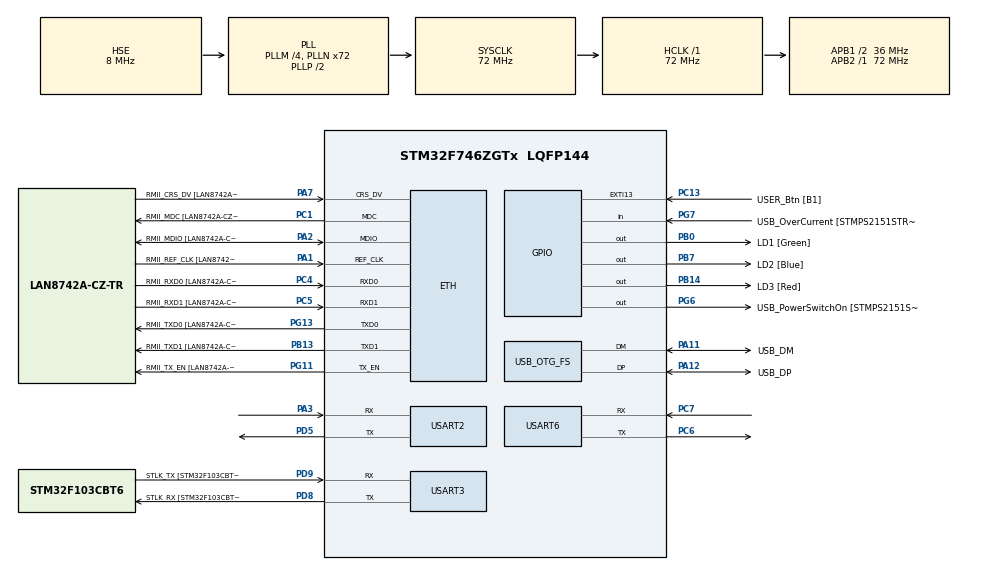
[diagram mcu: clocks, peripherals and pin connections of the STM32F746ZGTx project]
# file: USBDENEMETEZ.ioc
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ETH.MediaInterface=HAL_ETH_RMII_MODE
ETH.PHY_Name=LAN8742A_PHY_ADDRESS
ETH.PHY_Value=0
ETH.PhyAddress=0
Mcu.Family=STM32F7
Mcu.Name=STM32F746ZGTx
Mcu.Package=LQFP144
NVIC.OTG_FS_IRQn=true\:0\:0\:false\:false\:true\:false\:true\:true
NVIC.PriorityGroup=NVIC_PRIORITYGROUP_4
NVIC.TIM3_IRQn=true\:3\:0\:true\:false\:true\:true\:true\:true
NVIC.USART2_IRQn=true\:0\:0\:false\:false\:true\:true\:true\:true
NVIC.USART6_IRQn=true\:0\:0\:false\:false\:true\:true\:true\:true
PA1.GPIO_Label=RMII_REF_CLK [LAN8742A-CZ-TR_REFCLK0]
PA1.Mode=RMII
PA1.Signal=ETH_REF_CLK
PA10.GPIO_Label=USB_ID
PA10.Signal=USB_OTG_FS_ID
PA11.GPIO_Label=USB_DM
PA11.Mode=Device_Only
PA11.Signal=USB_OTG_FS_DM
PA12.GPIO_Label=USB_DP
PA12.Mode=Device_Only
PA12.Signal=USB_OTG_FS_DP
PA13.GPIO_Label=TMS
PA13.Mode=Serial_Wire
PA13.Signal=SYS_JTMS-SWDIO
PA14.GPIO_Label=TCK
PA14.Mode=Serial_Wire
PA14.Signal=SYS_JTCK-SWCLK
PA2.GPIO_Label=RMII_MDIO [LAN8742A-CZ-TR_MDIO]
PA2.Mode=RMII
PA2.Signal=ETH_MDIO
PA3.Mode=Asynchronous
PA3.Signal=USART2_RX
PA7.GPIO_Label=RMII_CRS_DV [LAN8742A-CZ-TR_CRS_DV]
PA7.Mode=RMII
PA7.Signal=ETH_CRS_DV
PA8.GPIO_Label=USB_SOF [TP1]
PA8.Signal=USB_OTG_FS_SOF
PA9.GPIO_Label=USB_VBUS
PA9.Signal=USB_OTG_FS_VBUS
PB0.GPIO_Label=LD1 [Green]
PB0.Signal=GPIO_Output
PB13.GPIO_Label=RMII_TXD1 [LAN8742A-CZ-TR_TXD1]
PB13.Mode=RMII
PB13.Signal=ETH_TXD1
PB14.GPIO_Label=LD3 [Red]
PB14.Signal=GPIO_Output
PB3.GPIO_Label=SW0
PB3.Signal=SYS_JTDO-SWO
PB7.GPIO_Label=LD2 [Blue]
PB7.Signal=GPIO_Output
PC1.GPIO_Label=RMII_MDC [LAN8742A-CZ-TR_MDC]
PC1.Mode=RMII
PC1.Signal=ETH_MDC
PC13.GPIO_Label=USER_Btn [B1]
PC13.Signal=GPXTI13
PC14/OSC32_IN.Mode=LSE-External-Oscillator
PC14/OSC32_IN.Signal=RCC_OSC32_IN
PC15/OSC32_OUT.Mode=LSE-External-Oscillator
PC15/OSC32_OUT.Signal=RCC_OSC32_OUT
PC4.GPIO_Label=RMII_RXD0 [LAN8742A-CZ-TR_RXD0]
PC4.Mode=RMII
PC4.Signal=ETH_RXD0
PC5.GPIO_Label=RMII_RXD1 [LAN8742A-CZ-TR_RXD1]
PC5.Mode=RMII
PC5.Signal=ETH_RXD1
PC6.Mode=Asynchronous
PC6.Signal=USART6_TX
PC7.Mode=Asynchronous
PC7.Signal=USART6_RX
PD5.Mode=Asynchronous
PD5.Signal=USART2_TX
PD8.GPIO_Label=STLK_RX [STM32F103CBT6_PA3]
PD8.GPIO_PuPd=GPIO_PULLUP
PD8.Mode=Asynchronous
PD8.Signal=USART3_TX
PD9.GPIO_Label=STLK_TX [STM32F103CBT6_PA2]
PD9.GPIO_PuPd=GPIO_PULLUP
PD9.Mode=Asynchronous
PD9.Signal=USART3_RX
PG11.GPIO_Label=RMII_TX_EN [LAN8742A-CZ-TR_TXEN]
PG11.Mode=RMII
PG11.Signal=ETH_TX_EN
PG13.GPIO_Label=RMII_TXD0 [LAN8742A-CZ-TR_TXD0]
PG13.Mode=RMII
PG13.Signal=ETH_TXD0
PG6.GPIO_Label=USB_PowerSwitchOn [STMPS2151STR_EN]
PG6.Signal=GPIO_Output
PG7.GPIO_Label=USB_OverCurrent [STMPS2151STR_FAULT]
PG7.Signal=GPIO_Input
PH0/OSC_IN.GPIO_Label=MCO [STM32F103CBT6_PA8]
PH0/OSC_IN.Mode=HSE-External-Clock-Source
PH0/OSC_IN.Signal=RCC_OSC_IN
PH1/OSC_OUT.Mode=HSE-External-Clock-Source
PH1/OSC_OUT.Signal=RCC_OSC_OUT
ProjectManager.HeapSize=0x200
ProjectManager.StackSize=0x400
ProjectManager.TargetToolchain=STM32CubeIDE
RCC.48MHZClocksFreq_Value=24000000
RCC.AHBFreq_Value=72000000
RCC.APB1CLKDivider=RCC_HCLK_DIV2
RCC.APB1Freq_Value=36000000
RCC.APB1TimFreq_Value=72000000
RCC.APB2Freq_Value=72000000
RCC.APB2TimFreq_Value=72000000
RCC.CortexFreq_Value=72000000
RCC.HCLKFreq_Value=72000000
RCC.HSE_VALUE=8000000
RCC.HSI_VALUE=16000000
RCC.PLLM=4
RCC.PLLMUL=RCC_PLL_MUL9
RCC.PLLN=72
RCC.PLLQ=3
RCC.PRESCALERUSB=RCC_USBCLKSOURCE_PLL_DIV1_5
RCC.SYSCLKFreq_VALUE=72000000
RCC.SYSCLKSource=RCC_SYSCLKSOURCE_PLLCLK
RCC.SYSCLKSourceVirtual=RCC_SYSCLKSOURCE_PLLCLK
RCC.USBFreq_Value=48000000
RCC.VCOOutputFreq_Value=144000000
TIM3.Period=1000-1
TIM3.Prescaler=72-1
USART2.VirtualMode-Asynchronous=VM_ASYNC
USART3.VirtualMode-Asynchronous=VM_ASYNC
USART6.VirtualMode-Asynchronous=VM_ASYNC
USB_DEVICE.CLASS_NAME_FS=CDC
USB_DEVICE.VirtualMode-CDC_FS=Cdc
USB_DEVICE.VirtualModeFS=Cdc_FS
USB_OTG_FS.VirtualMode=Device_Only
VP_TIM3_VS_ClockSourceINT.Mode=Internal
VP_USB_DEVICE_VS_USB_DEVICE_CDC_FS.Mode=CDC_FS
board=NUCLEO-F746ZG

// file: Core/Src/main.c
/* USER CODE BEGIN Header */
/**
  ******************************************************************************
  * @file           : main.c
  * @brief          : Main program body
  ******************************************************************************
  * @attention
  *
  * Copyright (c) 2024 STMicroelectronics.
  * All rights reserved.
  *
  * This software is licensed under terms that can be found in the LICENSE file
  * in the root directory of this software component.
  * If no LICENSE file comes with this software, it is provided AS-IS.
  *
  ******************************************************************************
  */
/* USER CODE END Header */
#include "main.h"
#include "string.h"
#include "usb_device.h"

/* USER CODE BEGIN Includes */
#include "usbd_cdc_if.h"
#include <stdio.h>
#include <stdlib.h>
/* USER CODE END Includes */

/* USER CODE BEGIN PM */
#define TIM_USB_SIMULINK htim3

//ODRIVE
#define uart_odrive1 huart2
#define uart_odrive2 huart6
#define timer_Trajectory htim1
#define AXIS_STATE_UNDEFINED (uint8_t)(0 + 48)
#define AXIS_STATE_IDLE (uint8_t)(1 + 48)
#define AXIS_STATE_FULL_CALIBRATION_SEQUENCE (uint8_t)(3 + 48)
#define AXIS_STATE_ENCODER_OFFSET_CALIBRATION (uint8_t)(7 + 48)
#define AXIS_STATE_CLOSED_LOOP_CONTROL (uint8_t)(8 + 48)

#define MOTOR_0 0
#define MOTOR_1 1
#define MOTOR_2 0
#define MOTOR_3 1//

/* USER CODE END PM */

#if defined ( __ICCARM__ ) /*!< IAR Compiler */
#pragma location=0x2004c000
ETH_DMADescTypeDef  DMARxDscrTab[ETH_RX_DESC_CNT]; /* Ethernet Rx DMA Descriptors */
#pragma location=0x2004c0a0
ETH_DMADescTypeDef  DMATxDscrTab[ETH_TX_DESC_CNT]; /* Ethernet Tx DMA Descriptors */

#elif defined ( __CC_ARM )  /* MDK ARM Compiler */

__attribute__((at(0x2004c000))) ETH_DMADescTypeDef  DMARxDscrTab[ETH_RX_DESC_CNT]; /* Ethernet Rx DMA Descriptors */
__attribute__((at(0x2004c0a0))) ETH_DMADescTypeDef  DMATxDscrTab[ETH_TX_DESC_CNT]; /* Ethernet Tx DMA Descriptors */

#elif defined ( __GNUC__ ) /* GNU Compiler */
ETH_DMADescTypeDef DMARxDscrTab[ETH_RX_DESC_CNT] __attribute__((section(".RxDecripSection"))); /* Ethernet Rx DMA Descriptors */
ETH_DMADescTypeDef DMATxDscrTab[ETH_TX_DESC_CNT] __attribute__((section(".TxDecripSection")));   /* Ethernet Tx DMA Descriptors */

#endif

ETH_TxPacketConfig TxConfig;

ETH_HandleTypeDef heth;

TIM_HandleTypeDef htim3;

UART_HandleTypeDef huart2;
UART_HandleTypeDef huart3;
UART_HandleTypeDef huart6;

/* USER CODE BEGIN PV */
extern uint8_t USB_RX_Buf[18];
uint8_t USB_TX_BUF[34];

typedef union{
	float number;
	uint8_t bytes[4];
}NUMUNION_t;

NUMUNION_t positionFloatNum0;
NUMUNION_t positionFloatNum1;
NUMUNION_t positionFloatNum2;
NUMUNION_t positionFloatNum3;

NUMUNION_t velocityFloatNum0;
NUMUNION_t velocityFloatNum1;
NUMUNION_t velocityFloatNum2;
NUMUNION_t velocityFloatNum3;

extern NUMUNION_t desiredPositionFloatNum0;
extern NUMUNION_t desiredPositionFloatNum1;
extern NUMUNION_t desiredPositionFloatNum2;
extern NUMUNION_t desiredPositionFloatNum3;

uint8_t TX_BUF_ODRV[50];
uint8_t RX_BUF_ODRV[50];
uint8_t motor_count = 0;

uint8_t motor_count1 = 0;
uint8_t motor_count2 = 0;

uint8_t TX_BUF1[50];
uint8_t TX_BUF2[50];
uint8_t RX_BUF1[50];
uint8_t RX_BUF2[50];

uint8_t g_dataReceivedFlag = 0;

uint8_t TX_BUF[30];
uint8_t buflen=0;
/* USER CODE END PV */

void SystemClock_Config(void);
static void MX_GPIO_Init(void);
static void MX_ETH_Init(void);
static void MX_USART3_UART_Init(void);
static void MX_USART2_UART_Init(void);
static void MX_USART6_UART_Init(void);
static void MX_TIM3_Init(void);
/* USER CODE BEGIN PFP */
void setPosition(uint8_t motor, float position, float velocity_ff, float torque_ff, UART_HandleTypeDef* huart);
void setVelocity(uint8_t motor, float velocity, float torque_ff, UART_HandleTypeDef* huart);
void setTorque(uint8_t motor, float torque, UART_HandleTypeDef* huart);
void setTrajectory(uint8_t motor, float position, UART_HandleTypeDef* huart);

void setState(uint8_t motor, uint8_t state, UART_HandleTypeDef* huart);
void setParameter(uint8_t motor, char* property, char* value, UART_HandleTypeDef* huart);
void clearErrors(UART_HandleTypeDef* huart);

uint8_t getState(uint8_t motor, UART_HandleTypeDef* huart);
void getParameter(uint8_t motor, char* property, uint8_t* value, UART_HandleTypeDef* huart);
void getFeedback(uint8_t motor, float* position, float* velocity, UART_HandleTypeDef* huart);
/* USER CODE END PFP */

/* USER CODE BEGIN 0 */
void setTrajectory(uint8_t motor, float position, UART_HandleTypeDef* huart)
{

	uint8_t TX_BUF[50];

	if(motor == 0 || motor == 1)
	{
		sprintf((char*)TX_BUF, "t %u %.3f\n", motor, position);
		strcpy((char*)TX_BUF_ODRV,(char*)TX_BUF);
//		HAL_UART_Transmit(huart, TX_BUF, 10, 1000);
		HAL_UART_Transmit_IT(huart, TX_BUF, strlen((char*)TX_BUF));
	}

}
void setPosition(uint8_t motor, float position, float velocity_ff, float torque_ff, UART_HandleTypeDef* huart)
{

	uint8_t TX_BUF[50];

	if(motor == 0 || motor == 1)
	{
		sprintf((char*)TX_BUF, "p %u %.3f %.3f %.3f\r\n", motor, position, velocity_ff, torque_ff);//f %u\n , motor
//		strcpy((char*)TX_BUF_ODRV,(char*)TX_BUF);
		HAL_UART_Transmit(huart, TX_BUF, 24, 1000);
//		HAL_UART_Transmit_IT(huart, TX_BUF, 16);
	}

}
void getFeedback(uint8_t motor, float* position, float* velocity, UART_HandleTypeDef* huart)
{
//	uint8_t TX_BUF[50];
	uint8_t RX_BUF[50];
	if(motor == 0 || motor == 1)
	{
//		sprintf((char*)TX_BUF, "f %u\n", motor);
//		strcpy((char*)TX_BUF_ODRV,(char*)TX_BUF);
//		HAL_UART_Transmit(huart, TX_BUF, strlen((char*)TX_BUF), 100);
		HAL_UART_Receive(huart, RX_BUF,24,1000);
//		strcpy((char*)RX_BUF_ODRV,(char*)RX_BUF);
		sscanf((char*)RX_BUF,"%f %f\r\n", position, velocity);
//		memset (RX_BUF_ODRV, '\0', 20);  // clear the buffer
//		memset (RX_BUF, '\0', 20);  // clear the buffer
//		HAL_UART_Transmit_IT(huart, TX_BUF, strlen((char*)TX_BUF));
	}
}

void setVelocity(uint8_t motor, float velocity, float torque_ff, UART_HandleTypeDef* huart)
{
	uint8_t TX_BUF[50];

		if(motor == 0 || motor == 1)
		{
			sprintf((char*)TX_BUF, "v %u %.3f %.3f\nf %u\n", motor, velocity, torque_ff, motor);
			strcpy((char*)TX_BUF_ODRV,(char*)TX_BUF);
	//		HAL_UART_Transmit(huart, TX_BUF, 18, 1000);
			HAL_UART_Transmit_IT(huart, TX_BUF, strlen((char*)TX_BUF));
		}
}

void setTorque(uint8_t motor, float torque, UART_HandleTypeDef* huart)
{
	uint8_t TX_BUF[50];

		if(motor == 0 || motor == 1)
		{
			sprintf((char*)TX_BUF, "c %u %.3f\nf %u\n", motor, torque, motor);
			strcpy((char*)TX_BUF_ODRV,(char*)TX_BUF);
	//		HAL_UART_Transmit(huart, TX_BUF, 18, 1000);
			HAL_UART_Transmit_IT(huart, TX_BUF, strlen((char*)TX_BUF));
		}
}

void setState(uint8_t motor, uint8_t state, UART_HandleTypeDef* huart)
{

	uint8_t TX_BUF[30] = "w axis0.requested_state 1\n";

	TX_BUF[24] = state;

	if(motor == 0 || motor == 1)
	{
		TX_BUF[6] = motor + 48;
		strcpy((char*)TX_BUF_ODRV,(char*)TX_BUF);
		HAL_UART_Transmit(huart, TX_BUF, 26, 1000);
//		HAL_UART_Transmit_IT(huart, TX_BUF, 26);
	}

}

uint8_t getState(uint8_t motor, UART_HandleTypeDef* huart)
{
	uint8_t TX_BUF[30] = "r axis0.current_state\n";
//	uint8_t AxisState[24] = "axis0.current_state\n";
	uint8_t stateValue;
//	strcat((char*)TX_BUF,(char*)AxisState);

//	if(motor == 0 || motor == 1)
//	{
		TX_BUF[6] = motor + 48;
		strcpy((char*)TX_BUF_ODRV,(char*)TX_BUF);
		HAL_UART_Transmit(&uart_odrive1, TX_BUF, 22, 1000);
//		HAL_UART_Transmit_IT(huart, TX_BUF, 22);
//		HAL_Delay(100);
		HAL_UART_Receive(&uart_odrive1, RX_BUF_ODRV, sizeof(RX_BUF_ODRV), 1000);
//		HAL_UART_Receive_IT(huart, RX_BUF_ODRV, sizeof(RX_BUF_ODRV));
//		RX_BUF_ODRV[0] = stateValue;
		stateValue = RX_BUF_ODRV[0];
		return stateValue;
//	}

//	return AXIS_STATE_IDLE;//if an error occurs change state to idle

}

void setParameter(uint8_t motor, char* property, char* value, UART_HandleTypeDef* huart)
{
	uint8_t TX_BUF[50] = "w ";

	strcat(strcat(strcat(strcat((char*)TX_BUF, property)," "), value),"\n");

	if(motor == 0 || motor == 1)
	{
		strcpy((char*)TX_BUF_ODRV,(char*)TX_BUF);
//		TX_BUF_ODRV[6] = motor + 48;
		HAL_UART_Transmit(huart, TX_BUF, sizeof(TX_BUF), 1000);
//		HAL_UART_Transmit_IT(huart, TX_BUF, sizeof(TX_BUF));
	}
}

void getParameter(uint8_t motor, char* property, uint8_t* value, UART_HandleTypeDef* huart)
{
	uint8_t TX_BUF[50] = "r ";

	strcat(strcat((char*)TX_BUF, property),"\n");

	if(motor == 0 || motor == 1)
	{
		strcpy((char*)TX_BUF_ODRV,(char*)TX_BUF);
//		TX_BUF_ODRV[6] = motor + 48;
		HAL_UART_Transmit(huart, TX_BUF, 28, 1000);
//		HAL_UART_Transmit_IT(huart, TX_BUF, 28);
	}
	HAL_Delay(10);
	HAL_UART_Receive(huart, value, sizeof(value), 1000);
//	HAL_UART_Receive_IT(huart, value, sizeof(value));
}

void clearErrors(UART_HandleTypeDef* huart)
{
	uint8_t TX_BUF[50] = "sc\n";
	strcpy((char*)TX_BUF_ODRV,(char*)TX_BUF);
	HAL_UART_Transmit(huart, TX_BUF, 3, 1000);
//	HAL_UART_Transmit_IT(huart, TX_BUF, 3);
}
/* USER CODE END 0 */

int main(void)
{

  /* MCU Configuration--------------------------------------------------------*/

  /* Reset of all peripherals, Initializes the Flash interface and the Systick. */
  HAL_Init();

  /* Configure the system clock */
  SystemClock_Config();

  /* Initialize all configured peripherals */
  MX_GPIO_Init();
  MX_ETH_Init();
  MX_USART3_UART_Init();
  MX_USB_DEVICE_Init();
  MX_USART2_UART_Init();
  MX_USART6_UART_Init();
  MX_TIM3_Init();
  /* USER CODE BEGIN 2 */
HAL_TIM_Base_Start_IT(&TIM_USB_SIMULINK);

//HAL_UART_Receive_IT(&huart2, (uint8_t*)RX_BUF1, 24);/////////////////////////
//HAL_UART_Receive_IT(&huart6, (uint8_t*)RX_BUF2, 24);
//
HAL_UART_Transmit_IT(&huart2, (uint8_t*)TX_BUF1, 16);
HAL_UART_Transmit_IT(&huart6, (uint8_t*)TX_BUF2, 16);

//positionFloatNum0.number=3.14;
//positionFloatNum1.number=1.612;
//positionFloatNum2.number=2.2;
//positionFloatNum3.number=3.7;
//velocityFloatNum0.number=0.322;
//velocityFloatNum1.number=-0.456;
//velocityFloatNum2.number=1.032;
//velocityFloatNum3.number=0.992;
  /* USER CODE END 2 */

  /* Infinite loop */
  /* USER CODE BEGIN WHILE */
  while (1)
  {

//	  if(g_dataReceivedFlag == 1)
//	  {
//		  g_dataReceivedFlag = 0;
//
//	  }

//	  clearErrors(&uart_odrive1);
//	  HAL_Delay(10);
//	  clearErrors(&uart_odrive2);
////	  HAL_Delay(10);

	  uint8_t motor=1;
	  float position = desiredPositionFloatNum0.number;
	  sprintf((char*)TX_BUF, "p %u %.3f 0 0\r\n", motor, position);
	  if(position >=0 )
	  {
		  buflen=14;
		  //		  HAL_UART_Transmit(&uart_odrive2,TX_BUF ,14, 2000);
	  }
	  else
	  {
//		  HAL_UART_Transmit(&uart_odrive2,TX_BUF ,15, 2000);
		  buflen=15;
	  }

	  HAL_Delay(100);
//	  setPosition(MOTOR_0, desiredPositionFloatNum0.number, 0, 0, );
//	  setPosition(MOTOR_1, desiredPositionFloatNum1.number, 0, 0, &uart_odrive1);
//	  setPosition(MOTOR_2, desiredPositionFloatNum2.number, 0, 0, &uart_odrive2);
//	  setPosition(MOTOR_3, desiredPositionFloatNum3.number, 0, 0, &uart_odrive2);
    /* USER CODE END WHILE */

  }
}

void SystemClock_Config(void)
{
  RCC_OscInitTypeDef RCC_OscInitStruct = {0};
  RCC_ClkInitTypeDef RCC_ClkInitStruct = {0};

  /** Configure LSE Drive Capability
  */
  HAL_PWR_EnableBkUpAccess();

  /** Configure the main internal regulator output voltage
  */
  __HAL_RCC_PWR_CLK_ENABLE();
  __HAL_PWR_VOLTAGESCALING_CONFIG(PWR_REGULATOR_VOLTAGE_SCALE3);

  /** Initializes the RCC Oscillators according to the specified parameters
  * in the RCC_OscInitTypeDef structure.
  */
  RCC_OscInitStruct.OscillatorType = RCC_OSCILLATORTYPE_HSE;
  RCC_OscInitStruct.HSEState = RCC_HSE_BYPASS;
  RCC_OscInitStruct.PLL.PLLState = RCC_PLL_ON;
  RCC_OscInitStruct.PLL.PLLSource = RCC_PLLSOURCE_HSE;
  RCC_OscInitStruct.PLL.PLLM = 4;
  RCC_OscInitStruct.PLL.PLLN = 72;
  RCC_OscInitStruct.PLL.PLLP = RCC_PLLP_DIV2;
  RCC_OscInitStruct.PLL.PLLQ = 3;
  if (HAL_RCC_OscConfig(&RCC_OscInitStruct) != HAL_OK)
  {
    Error_Handler();
  }

  /** Initializes the CPU, AHB and APB buses clocks
  */
  RCC_ClkInitStruct.ClockType = RCC_CLOCKTYPE_HCLK|RCC_CLOCKTYPE_SYSCLK
                              |RCC_CLOCKTYPE_PCLK1|RCC_CLOCKTYPE_PCLK2;
  RCC_ClkInitStruct.SYSCLKSource = RCC_SYSCLKSOURCE_PLLCLK;
  RCC_ClkInitStruct.AHBCLKDivider = RCC_SYSCLK_DIV1;
  RCC_ClkInitStruct.APB1CLKDivider = RCC_HCLK_DIV2;
  RCC_ClkInitStruct.APB2CLKDivider = RCC_HCLK_DIV1;

  if (HAL_RCC_ClockConfig(&RCC_ClkInitStruct, FLASH_LATENCY_2) != HAL_OK)
  {
    Error_Handler();
  }
}

static void MX_ETH_Init(void)
{

   static uint8_t MACAddr[6];

  heth.Instance = ETH;
  MACAddr[0] = 0x00;
  MACAddr[1] = 0x80;
  MACAddr[2] = 0xE1;
  MACAddr[3] = 0x00;
  MACAddr[4] = 0x00;
  MACAddr[5] = 0x00;
  heth.Init.MACAddr = &MACAddr[0];
  heth.Init.MediaInterface = HAL_ETH_RMII_MODE;
  heth.Init.TxDesc = DMATxDscrTab;
  heth.Init.RxDesc = DMARxDscrTab;
  heth.Init.RxBuffLen = 1524;

  if (HAL_ETH_Init(&heth) != HAL_OK)
  {
    Error_Handler();
  }

  memset(&TxConfig, 0 , sizeof(ETH_TxPacketConfig));
  TxConfig.Attributes = ETH_TX_PACKETS_FEATURES_CSUM | ETH_TX_PACKETS_FEATURES_CRCPAD;
  TxConfig.ChecksumCtrl = ETH_CHECKSUM_IPHDR_PAYLOAD_INSERT_PHDR_CALC;
  TxConfig.CRCPadCtrl = ETH_CRC_PAD_INSERT;

}

static void MX_TIM3_Init(void)
{

  TIM_ClockConfigTypeDef sClockSourceConfig = {0};
  TIM_MasterConfigTypeDef sMasterConfig = {0};

  htim3.Instance = TIM3;
  htim3.Init.Prescaler = 72-1;
  htim3.Init.CounterMode = TIM_COUNTERMODE_UP;
  htim3.Init.Period = 1000-1;
  htim3.Init.ClockDivision = TIM_CLOCKDIVISION_DIV1;
  htim3.Init.AutoReloadPreload = TIM_AUTORELOAD_PRELOAD_DISABLE;
  if (HAL_TIM_Base_Init(&htim3) != HAL_OK)
  {
    Error_Handler();
  }
  sClockSourceConfig.ClockSource = TIM_CLOCKSOURCE_INTERNAL;
  if (HAL_TIM_ConfigClockSource(&htim3, &sClockSourceConfig) != HAL_OK)
  {
    Error_Handler();
  }
  sMasterConfig.MasterOutputTrigger = TIM_TRGO_RESET;
  sMasterConfig.MasterSlaveMode = TIM_MASTERSLAVEMODE_DISABLE;
  if (HAL_TIMEx_MasterConfigSynchronization(&htim3, &sMasterConfig) != HAL_OK)
  {
    Error_Handler();
  }

}

static void MX_USART2_UART_Init(void)
{

  huart2.Instance = USART2;
  huart2.Init.BaudRate = 115200;
  huart2.Init.WordLength = UART_WORDLENGTH_8B;
  huart2.Init.StopBits = UART_STOPBITS_1;
  huart2.Init.Parity = UART_PARITY_NONE;
  huart2.Init.Mode = UART_MODE_TX_RX;
  huart2.Init.HwFlowCtl = UART_HWCONTROL_NONE;
  huart2.Init.OverSampling = UART_OVERSAMPLING_16;
  huart2.Init.OneBitSampling = UART_ONE_BIT_SAMPLE_DISABLE;
  huart2.AdvancedInit.AdvFeatureInit = UART_ADVFEATURE_NO_INIT;
  if (HAL_UART_Init(&huart2) != HAL_OK)
  {
    Error_Handler();
  }

}

static void MX_USART3_UART_Init(void)
{

  huart3.Instance = USART3;
  huart3.Init.BaudRate = 115200;
  huart3.Init.WordLength = UART_WORDLENGTH_8B;
  huart3.Init.StopBits = UART_STOPBITS_1;
  huart3.Init.Parity = UART_PARITY_NONE;
  huart3.Init.Mode = UART_MODE_TX_RX;
  huart3.Init.HwFlowCtl = UART_HWCONTROL_NONE;
  huart3.Init.OverSampling = UART_OVERSAMPLING_16;
  huart3.Init.OneBitSampling = UART_ONE_BIT_SAMPLE_DISABLE;
  huart3.AdvancedInit.AdvFeatureInit = UART_ADVFEATURE_NO_INIT;
  if (HAL_UART_Init(&huart3) != HAL_OK)
  {
    Error_Handler();
  }

}

static void MX_USART6_UART_Init(void)
{

  huart6.Instance = USART6;
  huart6.Init.BaudRate = 115200;
  huart6.Init.WordLength = UART_WORDLENGTH_8B;
  huart6.Init.StopBits = UART_STOPBITS_1;
  huart6.Init.Parity = UART_PARITY_NONE;
  huart6.Init.Mode = UART_MODE_TX_RX;
  huart6.Init.HwFlowCtl = UART_HWCONTROL_NONE;
  huart6.Init.OverSampling = UART_OVERSAMPLING_16;
  huart6.Init.OneBitSampling = UART_ONE_BIT_SAMPLE_DISABLE;
  huart6.AdvancedInit.AdvFeatureInit = UART_ADVFEATURE_NO_INIT;
  if (HAL_UART_Init(&huart6) != HAL_OK)
  {
    Error_Handler();
  }

}

static void MX_GPIO_Init(void)
{
  GPIO_InitTypeDef GPIO_InitStruct = {0};

  /* GPIO Ports Clock Enable */
  __HAL_RCC_GPIOC_CLK_ENABLE();
  __HAL_RCC_GPIOH_CLK_ENABLE();
  __HAL_RCC_GPIOA_CLK_ENABLE();
  __HAL_RCC_GPIOB_CLK_ENABLE();
  __HAL_RCC_GPIOD_CLK_ENABLE();
  __HAL_RCC_GPIOG_CLK_ENABLE();

  /*Configure GPIO pin Output Level */
  HAL_GPIO_WritePin(GPIOB, LD1_Pin|LD3_Pin|LD2_Pin, GPIO_PIN_RESET);

  /*Configure GPIO pin Output Level */
  HAL_GPIO_WritePin(USB_PowerSwitchOn_GPIO_Port, USB_PowerSwitchOn_Pin, GPIO_PIN_RESET);

  /*Configure GPIO pin : USER_Btn_Pin */
  GPIO_InitStruct.Pin = USER_Btn_Pin;
  GPIO_InitStruct.Mode = GPIO_MODE_IT_RISING;
  GPIO_InitStruct.Pull = GPIO_NOPULL;
  HAL_GPIO_Init(USER_Btn_GPIO_Port, &GPIO_InitStruct);

  /*Configure GPIO pins : LD1_Pin LD3_Pin LD2_Pin */
  GPIO_InitStruct.Pin = LD1_Pin|LD3_Pin|LD2_Pin;
  GPIO_InitStruct.Mode = GPIO_MODE_OUTPUT_PP;
  GPIO_InitStruct.Pull = GPIO_NOPULL;
  GPIO_InitStruct.Speed = GPIO_SPEED_FREQ_LOW;
  HAL_GPIO_Init(GPIOB, &GPIO_InitStruct);

  /*Configure GPIO pin : USB_PowerSwitchOn_Pin */
  GPIO_InitStruct.Pin = USB_PowerSwitchOn_Pin;
  GPIO_InitStruct.Mode = GPIO_MODE_OUTPUT_PP;
  GPIO_InitStruct.Pull = GPIO_NOPULL;
  GPIO_InitStruct.Speed = GPIO_SPEED_FREQ_LOW;
  HAL_GPIO_Init(USB_PowerSwitchOn_GPIO_Port, &GPIO_InitStruct);

  /*Configure GPIO pin : USB_OverCurrent_Pin */
  GPIO_InitStruct.Pin = USB_OverCurrent_Pin;
  GPIO_InitStruct.Mode = GPIO_MODE_INPUT;
  GPIO_InitStruct.Pull = GPIO_NOPULL;
  HAL_GPIO_Init(USB_OverCurrent_GPIO_Port, &GPIO_InitStruct);

}

/* USER CODE BEGIN 4 */
void HAL_TIM_PeriodElapsedCallback(TIM_HandleTypeDef *htim)
{
	if(htim == &TIM_USB_SIMULINK)
	{
		  USB_TX_BUF[0] = '#';
		  USB_TX_BUF[1] = positionFloatNum0.bytes[0];
		  USB_TX_BUF[2] = positionFloatNum0.bytes[1];
		  USB_TX_BUF[3] = positionFloatNum0.bytes[2];
		  USB_TX_BUF[4] = positionFloatNum0.bytes[3];

		  USB_TX_BUF[5] = velocityFloatNum0.bytes[0];
		  USB_TX_BUF[6] = velocityFloatNum0.bytes[1];
		  USB_TX_BUF[7] = velocityFloatNum0.bytes[2];
		  USB_TX_BUF[8] = velocityFloatNum0.bytes[3];

		  USB_TX_BUF[9] = positionFloatNum1.bytes[0];
		  USB_TX_BUF[10] = positionFloatNum1.bytes[1];
		  USB_TX_BUF[11] = positionFloatNum1.bytes[2];
		  USB_TX_BUF[12] = positionFloatNum1.bytes[3];

		  USB_TX_BUF[13] = velocityFloatNum1.bytes[0];
		  USB_TX_BUF[14] = velocityFloatNum1.bytes[1];
		  USB_TX_BUF[15] = velocityFloatNum1.bytes[2];
		  USB_TX_BUF[16] = velocityFloatNum1.bytes[3];

		  USB_TX_BUF[17] = positionFloatNum2.bytes[0];
		  USB_TX_BUF[18] = positionFloatNum2.bytes[1];
		  USB_TX_BUF[19] = positionFloatNum2.bytes[2];
		  USB_TX_BUF[20] = positionFloatNum2.bytes[3];

		  USB_TX_BUF[21] = velocityFloatNum2.bytes[0];
		  USB_TX_BUF[22] = velocityFloatNum2.bytes[1];
		  USB_TX_BUF[23] = velocityFloatNum2.bytes[2];
		  USB_TX_BUF[24] = velocityFloatNum2.bytes[3];

		  USB_TX_BUF[25] = positionFloatNum3.bytes[0];
		  USB_TX_BUF[26] = positionFloatNum3.bytes[1];
		  USB_TX_BUF[27] = positionFloatNum3.bytes[2];
		  USB_TX_BUF[28] = positionFloatNum3.bytes[3];

		  USB_TX_BUF[29] = velocityFloatNum3.bytes[0];
		  USB_TX_BUF[30] = velocityFloatNum3.bytes[1];
		  USB_TX_BUF[31] = velocityFloatNum3.bytes[2];
		  USB_TX_BUF[32] = velocityFloatNum3.bytes[3];

		  USB_TX_BUF[33] = '\n';

		  CDC_Transmit_FS(USB_TX_BUF, 34);//Simulink is getting feedback values at this point
		  // Maybe i can split every feedback and send them in order. It could be the problem

		 desiredPositionFloatNum0.bytes[0] = USB_RX_Buf[1];
		 desiredPositionFloatNum0.bytes[1] = USB_RX_Buf[2];
		 desiredPositionFloatNum0.bytes[2] = USB_RX_Buf[3];
		 desiredPositionFloatNum0.bytes[3] = USB_RX_Buf[4];
		 desiredPositionFloatNum1.bytes[0] = USB_RX_Buf[5];
		 desiredPositionFloatNum1.bytes[1] = USB_RX_Buf[6];
		 desiredPositionFloatNum1.bytes[2] = USB_RX_Buf[7];
		 desiredPositionFloatNum1.bytes[3] = USB_RX_Buf[8];
		 desiredPositionFloatNum2.bytes[0] = USB_RX_Buf[9];
		 desiredPositionFloatNum2.bytes[1] = USB_RX_Buf[10];
		 desiredPositionFloatNum2.bytes[2] = USB_RX_Buf[11];
		 desiredPositionFloatNum2.bytes[3] = USB_RX_Buf[12];
		 desiredPositionFloatNum3.bytes[0] = USB_RX_Buf[13];
		 desiredPositionFloatNum3.bytes[1] = USB_RX_Buf[14];
		 desiredPositionFloatNum3.bytes[2] = USB_RX_Buf[15];
		 desiredPositionFloatNum3.bytes[3] = USB_RX_Buf[16];
	}
}

//void HAL_UART_TxCpltCallback(UART_HandleTypeDef *huart)
//{
//	if((huart == &uart_odrive1)||(huart == &uart_odrive2))
//	{
//		switch(motor_count)
//			{
//			case 0:
//				motor_count++;
//				getFeedback(MOTOR_0, &positionFloatNum0.number, &velocityFloatNum0.number, &uart_odrive1);
//				setPosition(MOTOR_2, desiredPositionFloatNum2.number, 0, 0, &uart_odrive2);
//				break;
//			case 1:
//				motor_count++;
//
//				setPosition(MOTOR_1, desiredPositionFloatNum1.number, 0, 0, &uart_odrive1);
//				getFeedback(MOTOR_1, &positionFloatNum1.number, &velocityFloatNum1.number, &uart_odrive1);
//
//				break;
//			case 2:
//				motor_count++;
//				getFeedback(MOTOR_2, &positionFloatNum2.number, &velocityFloatNum2.number, &uart_odrive2);
//				setPosition(MOTOR_3, desiredPositionFloatNum3.number, 0, 0, &uart_odrive2);
//				break;
//			case 3:
//				motor_count++;
//				motor_count = 0;
//				getFeedback(MOTOR_3, &positionFloatNum3.number, &velocityFloatNum3.number, &uart_odrive2);
//				setPosition(MOTOR_0, desiredPositionFloatNum0.number, 0, 0, &uart_odrive1);
//				break;
//			}
//	}
//
//
//}
//void HAL_UART_RxCpltCallback(UART_HandleTypeDef *huart)
//{
//	if((huart == &uart_odrive1)||(huart == &uart_odrive2))
//		{
//			switch(motor_count)
//				{
//				case 0:
//					motor_count++;
////					getFeedback(MOTOR_0, &positionFloatNum0.number, &velocityFloatNum0.number, &uart_odrive1);
//					setPosition(MOTOR_1, desiredPositionFloatNum1.number, 0, 0, &uart_odrive1);
//					break;
//				case 1:
//					motor_count++;
////					getFeedback(MOTOR_1, &positionFloatNum1.number, &velocityFloatNum1.number, &uart_odrive1);
//					setPosition(MOTOR_2, desiredPositionFloatNum2.number, 0, 0, &uart_odrive2);
//					break;
//				case 2:
//					motor_count++;
////					getFeedback(MOTOR_2, &positionFloatNum2.number, &velocityFloatNum2.number, &uart_odrive2);
//					setPosition(MOTOR_3, desiredPositionFloatNum3.number, 0, 0, &uart_odrive2);
//					break;
//				case 3:
////					motor_count++;
//					motor_count = 0;
////					getFeedback(MOTOR_3, &positionFloatNum3.number, &velocityFloatNum3.number, &uart_odrive2);
//					setPosition(MOTOR_0, desiredPositionFloatNum0.number, 0, 0, &uart_odrive1);
//					break;
//				}
//		}
//
//}///////////////////////////////
void HAL_UART_RxCpltCallback(UART_HandleTypeDef *huart)
{
	if(huart->Instance == USART2)
	{
		if(motor_count1 == 0)
		{
			sscanf((char*)RX_BUF1,"%f %f\r\n", &positionFloatNum0.number, &velocityFloatNum0.number);
			//interpretting feedback request answer for motor 1
		}
		else if(motor_count1 == 1)
		{
			sscanf((char*)RX_BUF1,"%f %f\r\n", &positionFloatNum1.number, &velocityFloatNum1.number);
			//interpretting feedback request answer for motor 2
		}

		HAL_UART_Receive_IT(&huart2, (uint8_t*)RX_BUF1, 24);/////////////////
	}
	else if(huart->Instance == USART6)
	{
		if(motor_count2 == 0)
		{
			sscanf((char*)RX_BUF2,"%f %f\r\n", &positionFloatNum2.number, &velocityFloatNum2.number);
			//interpretting feedback request answer for motor 3
			// maybe a space will be enough for sscanf, if there is a problem
		}
		else if(motor_count2 == 1)
		{
			sscanf((char*)RX_BUF2,"%f %f\r\n", &positionFloatNum3.number, &velocityFloatNum3.number);
			//interpretting feedback request answer for motor 4
		}
		HAL_UART_Receive_IT(&huart6, (uint8_t*)RX_BUF2, 24);
		//Actually making an endless loop will be better. Store values at Buff and then interpret them
	}
}
void HAL_UART_TxCpltCallback(UART_HandleTypeDef *huart)
{
	if(huart->Instance == USART2) // GPS Transmit
	{
//		float num;
//		if(motor_count1 == 0)
//			num = desiredPositionFloatNum0.number;
//		else
//			num = desiredPositionFloatNum1.number;
//		sprintf((char*)TX_BUF1, "p %u %.3f\r\nf %u\r\n", motor_count1, num, motor_count1);//preparing buff for transmit
		HAL_UART_Transmit_IT(&huart2, (uint8_t*)TX_BUF1, buflen);// at the same time, feedback request has been made
//		motor_count1++;
//		if(motor_count1 == 2)
//			motor_count1 = 0;

	}
	else if(huart->Instance == USART6)
	{
//		float num;
//		if(motor_count2 == 0)
//			num = desiredPositionFloatNum2.number;
//		else
//			num = desiredPositionFloatNum3.number;
//		sprintf((char*)TX_BUF2, "p %u %.3f\r\nf %u\r\n", motor_count2, num, motor_count2);
		HAL_UART_Transmit_IT(&huart6, (uint8_t*)TX_BUF, buflen);

//		motor_count2++;
//		if(motor_count2 == 2)
//			motor_count2 = 0;
	}
}

/* USER CODE END 4 */

void Error_Handler(void)
{
  __disable_irq();
  while (1)
  {
  }
}
